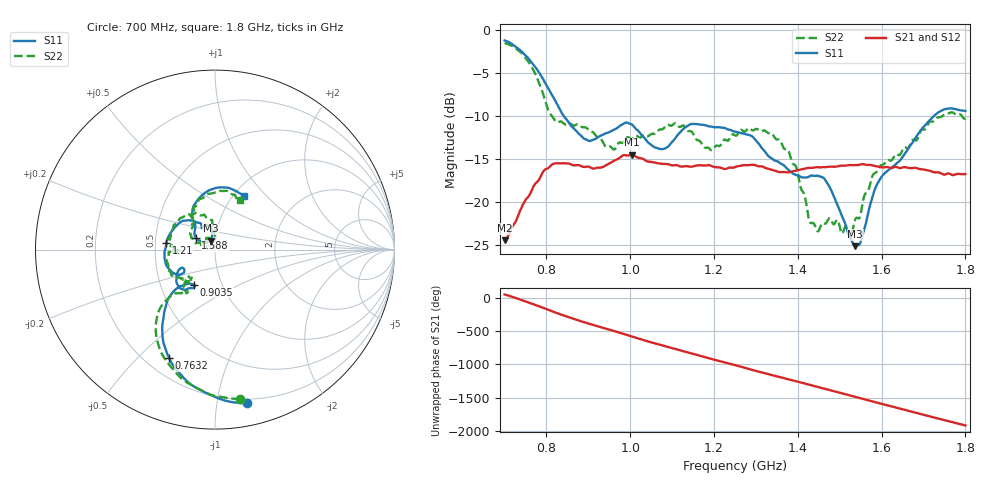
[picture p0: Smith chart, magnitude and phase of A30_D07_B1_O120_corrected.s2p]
! Created with skrf 1.9.0 (http://scikit-rf.org).
# Hz S RI R 50.0
!freq ReS11 ImS11 ReS21 ImS21 ReS12 ImS12 ReS22 ImS22
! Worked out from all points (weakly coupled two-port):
!   1601 points, 700 MHz to 1.8 GHz, reference 50 ohm
!   highest |S21| = -14.45 dB at 1.003 GHz (marker M1); lowest = -24.4 dB at 700.7 MHz (marker M2)
!   lowest |S11| = -25.1 dB at 1.537 GHz (marker M3), VSWR 1.12, Z = 47.4 + j4.75 ohm
!   |S11| at or under -10 dB: 841.6 MHz to 1.724 GHz (882.6 MHz wide, 68.8 % of centre)
!   |S22| runs from -24.1 to -1.5 dB; largest |S21 - S12| = 0.0036
!   S11 on the Smith chart (normalised r, x): 700 MHz: 0.17, -1.21; 763.2 MHz: 0.29, -0.62; 903.5 MHz: 0.74, -0.30; 1.21 GHz: 0.57, +0.05; 1.588 GHz: 0.80, +0.11; 1.8 GHz: 1.12, +0.76
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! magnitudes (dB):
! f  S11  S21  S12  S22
! 700 MHz  -1.2  -24.4  -24.2  -1.5
! 700.7 MHz  -1.2  -24.4  -24.1  -1.5
! 763.2 MHz  -3.7  -18.8  -18.8  -4.1
! 819.6 MHz  -8.1  -15.5  -15.6  -10.5
! 883.6 MHz  -12.3  -15.8  -15.7  -11.2
! 903.5 MHz  -12.9  -15.9  -15.9  -11.7
! 959.2 MHz  -11.6  -15.2  -15.2  -13.8
! 1.003 GHz  -10.9  -14.5  -14.6  -12.7
! 1.067 GHz  -13.7  -15.5  -15.4  -11.6
! 1.143 GHz  -10.9  -15.9  -15.8  -11.7
! 1.21 GHz  -11.3  -15.9  -16.0  -13.5
! 1.25 GHz  -11.8  -15.9  -15.9  -12.2
! 1.357 GHz  -15.4  -16.5  -16.4  -12.8
! 1.396 GHz  -16.8  -16.3  -16.3  -15.9
! 1.434 GHz  -16.9  -16.0  -16.0  -22.4
! 1.47 GHz  -17.8  -15.9  -15.9  -22.2
! 1.525 GHz  -24.1  -15.7  -15.7  -24.1
! 1.537 GHz  -25.1  -15.7  -15.7  -22.0
! 1.588 GHz  -18.1  -15.8  -15.8  -16.5
! 1.617 GHz  -16.2  -16.0  -15.9  -15.1
! 1.732 GHz  -9.7  -16.5  -16.5  -10.2
! 1.8 GHz  -9.4  -16.7  -16.7  -10.3
